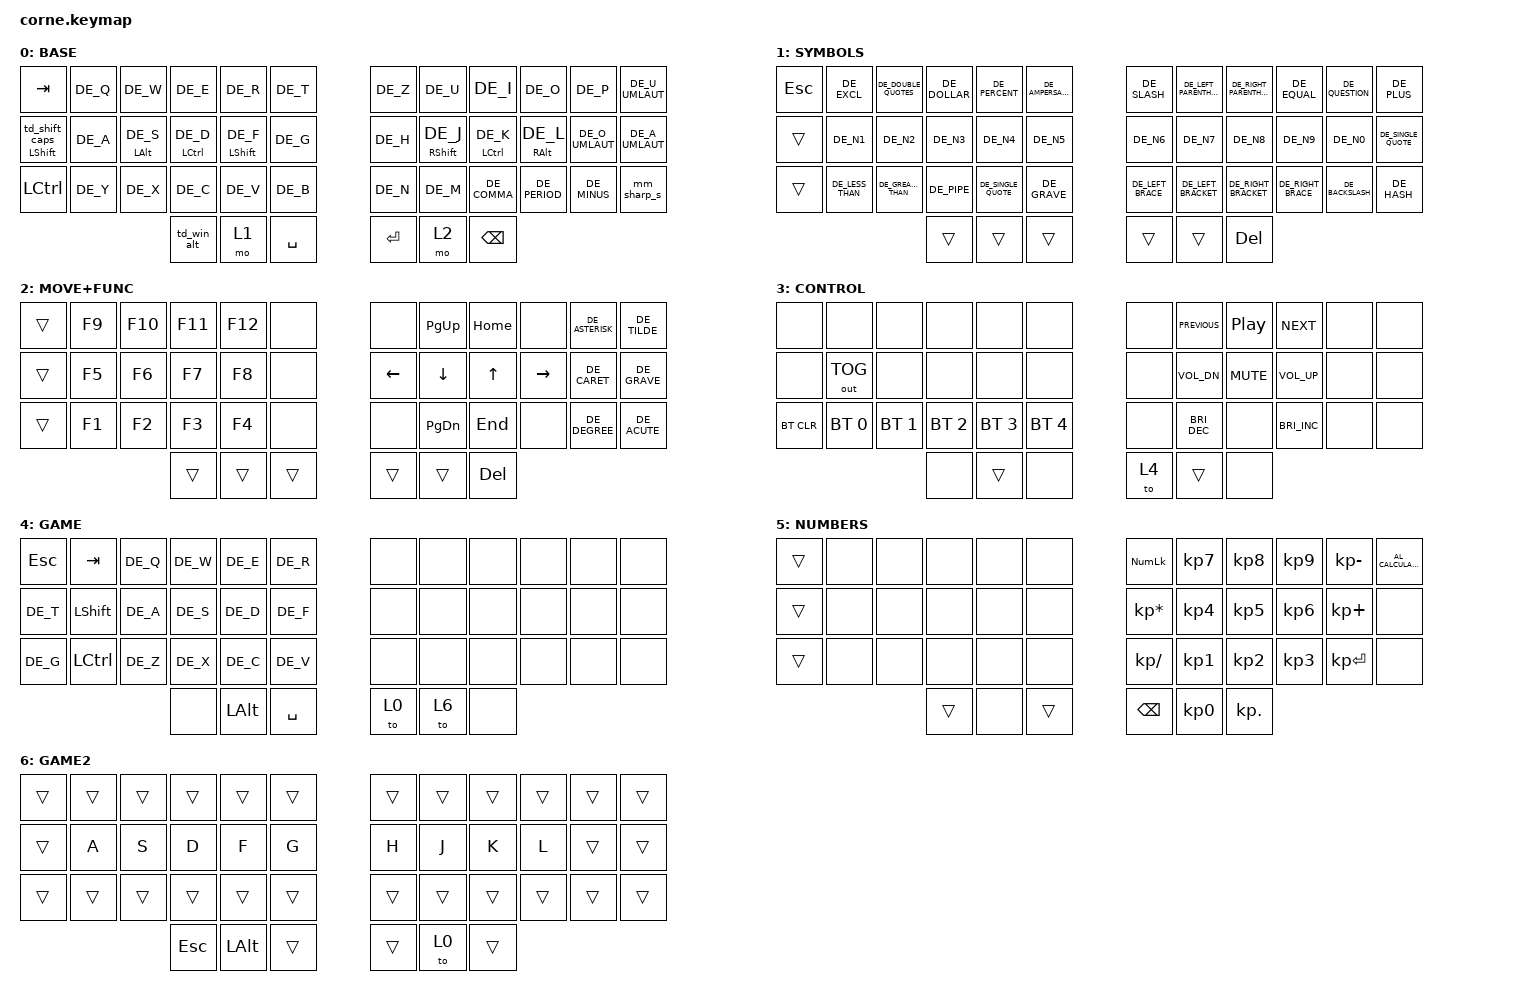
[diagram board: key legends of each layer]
#include "keys_de.h"
#include <behaviors.dtsi>
#include <dt-bindings/zmk/bt.h>
#include <dt-bindings/zmk/keys.h>
#include <dt-bindings/zmk/outputs.h>

&led_strip { chain-length = <27>; };

/ {
    behaviors {
        td_shift_caps: td_shift_caps {
            compatible = "zmk,behavior-tap-dance";
            label = "TD_SHIFT_CAPS";
            #binding-cells = <0>;
            bindings = <&kp LEFT_SHIFT>, <&caps_word>;

            tapping-term-ms = <280>;
        };

        mm_sharp_s: mm_sharp_s {
            compatible = "zmk,behavior-mod-morph";
            label = "MM_SHARP_S";
            bindings = <&kp DE_SHARP_S>, <&kp DE_CAPITAL_SHARP_S>;

            #binding-cells = <0>;
            mods = <(MOD_LSFT)>;
        };

        hml: homerow_mods_left {
            compatible = "zmk,behavior-hold-tap";
            label = "HOMEROW_MODS_LEFT_HAND";
            bindings = <&kp>, <&kp>;

            #binding-cells = <2>;
            tapping-term-ms = <280>;
            hold-trigger-key-positions = <6 7 8 9 10 11 18 19 20 21 22 23 30 31 32 33 34 35 39 40 41 0>;
            quick-tap-ms = <210>;
            flavor = "balanced";
            hold-trigger-on-release;
        };

        hmr: homerow_mods_right {
            compatible = "zmk,behavior-hold-tap";
            label = "HOMEROW_MODS_RIGHT_HAND";
            bindings = <&kp>, <&kp>;

            #binding-cells = <2>;
            tapping-term-ms = <280>;
            hold-trigger-key-positions = <0 1 2 3 4 5 12 13 14 15 16 17 24 25 26 27 28 29 36 37 38>;
            quick-tap-ms = <210>;
            flavor = "balanced";
            hold-trigger-on-release;
        };

        td_mo2_to5: td_mo2_to5 {
            compatible = "zmk,behavior-tap-dance";
            label = "TD_MO2_TO5";
            #binding-cells = <0>;
            bindings = <&mo 2>, <&to 5>;

            tapping-term-ms = <280>;
        };

        td_win_alt: td_win_alt {
            compatible = "zmk,behavior-tap-dance";
            label = "TD_WIN_ALT";
            #binding-cells = <0>;
            bindings = <&kp LGUI>, <&kp LALT>;

            tapping-term-ms = <280>;
        };

        ht_shift_capsword: ht_shift_capsword {
            compatible = "zmk,behavior-hold-tap";
            label = "HT_SHIFT_CAPSWORD";
            bindings = <&kp>, <&td_shift_caps>;

            #binding-cells = <2>;
            tapping-term-ms = <280>;
            hold-while-undecided;
            hold-while-undecided-linger;
        };
    };

    combos {
        compatible = "zmk,combos";

        mo_numpad {
            bindings = <&mo 5>;
            key-positions = <37 38>;
        };

        alt+ctrl {
            bindings = <&kp LA(LCTRL)>;
            key-positions = <36 37>;
        };
    };

    keymap {
        compatible = "zmk,keymap";

        base {
            bindings = <
&kp TAB                          &kp DE_Q  &kp DE_W            &kp DE_E                &kp DE_R              &kp DE_T     &kp DE_Z   &kp DE_U               &kp DE_I                &kp DE_O             &kp DE_P         &kp DE_U_UMLAUT
&ht_shift_capsword LEFT_SHIFT 0  &kp DE_A  &hml LEFT_ALT DE_S  &hml LEFT_CONTROL DE_D  &hml LEFT_SHIFT DE_F  &kp DE_G     &kp DE_H   &hmr RIGHT_SHIFT DE_J  &hmr LEFT_CONTROL DE_K  &hmr RIGHT_ALT DE_L  &kp DE_O_UMLAUT  &kp DE_A_UMLAUT
&kp LEFT_CONTROL                 &kp DE_Y  &kp DE_X            &kp DE_C                &kp DE_V              &kp DE_B     &kp DE_N   &kp DE_M               &kp DE_COMMA            &kp DE_PERIOD        &kp DE_MINUS     &mm_sharp_s
                                                               &td_win_alt             &mo 1                 &kp SPACE    &kp ENTER  &mo 2                  &kp BACKSPACE
            >;

            label = "BASE";
        };

        symbols {
            bindings = <
&kp ESCAPE  &kp DE_EXCL       &kp DE_DOUBLE_QUOTES  &kp DE_DOLLAR  &kp DE_PERCENT       &kp DE_AMPERSAND    &kp DE_SLASH       &kp DE_LEFT_PARENTHESIS  &kp DE_RIGHT_PARENTHESIS  &kp DE_EQUAL        &kp DE_QUESTION   &kp DE_PLUS
&trans      &kp DE_N1         &kp DE_N2             &kp DE_N3      &kp DE_N4            &kp DE_N5           &kp DE_N6          &kp DE_N7                &kp DE_N8                 &kp DE_N9           &kp DE_N0         &kp DE_SINGLE_QUOTE
&trans      &kp DE_LESS_THAN  &kp DE_GREATER_THAN   &kp DE_PIPE    &kp DE_SINGLE_QUOTE  &kp DE_GRAVE        &kp DE_LEFT_BRACE  &kp DE_LEFT_BRACKET      &kp DE_RIGHT_BRACKET      &kp DE_RIGHT_BRACE  &kp DE_BACKSLASH  &kp DE_HASH
                                                    &trans         &trans               &trans              &trans             &trans                   &kp DELETE
            >;

            label = "SYMBOLS";
        };

        move+func {
            bindings = <
&trans  &kp F9  &kp F10  &kp F11  &kp F12  &none     &none     &kp PAGE_UP    &kp HOME  &none      &kp DE_ASTERISK  &kp DE_TILDE
&trans  &kp F5  &kp F6   &kp F7   &kp F8   &none     &kp LEFT  &kp DOWN       &kp UP    &kp RIGHT  &kp DE_CARET     &kp DE_GRAVE
&trans  &kp F1  &kp F2   &kp F3   &kp F4   &none     &none     &kp PAGE_DOWN  &kp END   &none      &kp DE_DEGREE    &kp DE_ACUTE
                         &trans   &trans   &trans    &trans    &trans         &kp DEL
            >;

            label = "MOVE+FUNC";
        };

        control {
            bindings = <
&none       &none         &none         &none         &none         &none           &none  &kp C_PREVIOUS        &kp C_PLAY_PAUSE  &kp C_NEXT            &none  &none
&none       &out OUT_TOG  &none         &none         &none         &none           &none  &kp C_VOL_DN          &kp C_MUTE        &kp C_VOL_UP          &none  &none
&bt BT_CLR  &bt BT_SEL 0  &bt BT_SEL 1  &bt BT_SEL 2  &bt BT_SEL 3  &bt BT_SEL 4    &none  &kp C_BRIGHTNESS_DEC  &none             &kp C_BRIGHTNESS_INC  &none  &none
                                        &none         &trans        &none           &to 4  &trans                &none
            >;

            label = "CONTROL";
        };

        gaming {
            bindings = <
&kp ESC   &kp TAB    &kp DE_Q  &kp DE_W  &kp DE_E  &kp DE_R     &none  &none  &none  &none  &none  &none
&kp DE_T  &kp LSHFT  &kp DE_A  &kp DE_S  &kp DE_D  &kp DE_F     &none  &none  &none  &none  &none  &none
&kp DE_G  &kp LCTRL  &kp DE_Z  &kp DE_X  &kp DE_C  &kp DE_V     &none  &none  &none  &none  &none  &none
                               &none     &kp LALT  &kp SPACE    &to 0  &to 6  &none
            >;

            label = "GAME";
        };

        num {
            bindings = <
&trans  &none  &none  &none   &none  &none     &kp KP_NUM       &kp KP_NUMBER_7  &kp KP_NUMBER_8  &kp KP_NUMBER_9  &kp KP_MINUS  &kp C_AL_CALCULATOR
&trans  &none  &none  &none   &none  &none     &kp KP_MULTIPLY  &kp KP_NUMBER_4  &kp KP_NUMBER_5  &kp KP_NUMBER_6  &kp KP_PLUS   &none
&trans  &none  &none  &none   &none  &none     &kp KP_DIVIDE    &kp KP_NUMBER_1  &kp KP_NUMBER_2  &kp KP_NUMBER_3  &kp KP_ENTER  &none
                      &trans  &none  &trans    &kp BSPC         &kp KP_NUMBER_0  &kp KP_DOT
            >;

            label = "NUMBERS";
        };

        game2 {
            bindings = <
&trans  &trans  &trans  &trans   &trans    &trans    &trans  &trans  &trans  &trans  &trans  &trans
&trans  &kp A   &kp S   &kp D    &kp F     &kp G     &kp H   &kp J   &kp K   &kp L   &trans  &trans
&trans  &trans  &trans  &trans   &trans    &trans    &trans  &trans  &trans  &trans  &trans  &trans
                        &kp ESC  &kp LALT  &trans    &trans  &to 0   &trans
            >;

            label = "GAME2";
        };
    };

    conditional_layers {
        compatible = "zmk,conditional-layers";

        control {
            if-layers = <1 2>;
            then-layer = <3>;
        };
    };
};
